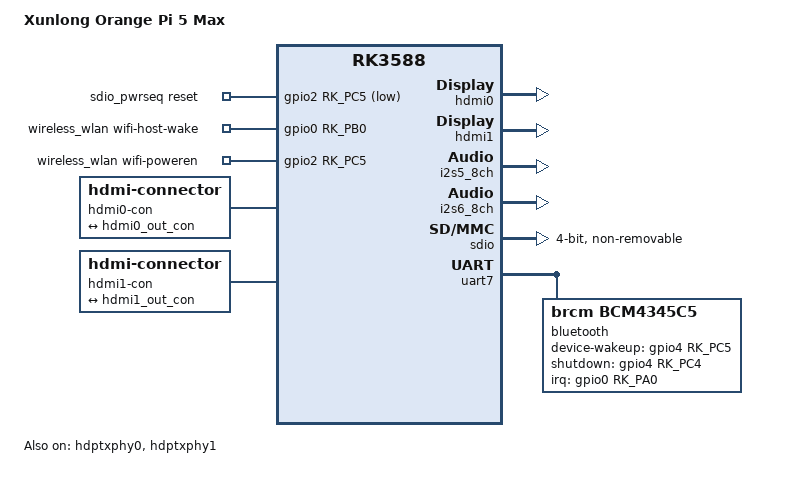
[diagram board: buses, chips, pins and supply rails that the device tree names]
// SPDX-License-Identifier: (GPL-2.0+ OR MIT)

/dts-v1/;

#include <dt-bindings/gpio/gpio.h>
#include <dt-bindings/pinctrl/rockchip.h>
#include <dt-bindings/soc/rockchip,vop2.h>
#include "rk3588-orangepi-5-compact.dtsi"

/ {
	model = "Xunlong Orange Pi 5 Max";
	compatible = "xunlong,orangepi-5-max", "rockchip,rk3588";

	sdio_pwrseq: sdio-pwrseq {
		compatible = "mmc-pwrseq-simple";
		clocks = <&hym8563>;
		clock-names = "ext_clock";
		pinctrl-names = "default";
		pinctrl-0 = <&wifi_enable_h>;
		post-power-on-delay-ms = <200>;
		reset-gpios = <&gpio2 RK_PC5 GPIO_ACTIVE_LOW>;
	};

	/*
	 * wireless-bluetooth (bluetooth-platdata): used only by rfkill_bt.
	 * rfkill_bt finds this node by compatible and creates a platform device from it
	 * (it does not respect status="disabled"), then uses bt-reset-gpio, bt-wake-gpio,
	 * bt-wake-host-gpio for rfkill block/unblock and bluesleep.
	 * No uart-rts-gpio / rts_gpio here: RTS is owned by &uart7 (uart7m0_rtsn on GPIO4 PC2).
	 *
	 * Actual BT transport and power sequencing are under &uart7 { bluetooth { } }
	 * (brcm,bcm4345c5), which hci_uart_bcm uses (device-wakeup-gpios, shutdown-gpios).
	 * Same pins, different property names for the two drivers.
	 */
	wireless_bluetooth: wireless-bluetooth {
		compatible = "bluetooth-platdata";
		bt-reset-gpio = <&gpio4 RK_PC4 GPIO_ACTIVE_HIGH>;
		bt-wake-gpio = <&gpio4 RK_PC5 GPIO_ACTIVE_HIGH>;
		bt-wake-host-gpio = <&gpio0 RK_PA0 GPIO_ACTIVE_HIGH>;
		pinctrl-names = "default";
		pinctrl-0 = <&bt_reset_gpio &bt_wake_gpio &bt_irq_gpio>;
		clocks = <&hym8563>;
		clock-names = "ext_clock";
		status = "disabled";
	};

	wireless_wlan: wireless-wlan {
		compatible = "wlan-platdata";
		wifi_chip_type = "ap6611";
		wifi-host-wake-gpio = <&gpio0 RK_PB0 GPIO_ACTIVE_HIGH>;
		wifi-poweren-gpio = <&gpio2 RK_PC5 GPIO_ACTIVE_HIGH>;
		pinctrl-names = "default";
		pinctrl-0 = <&wifi_host_wake_irq>;
		status = "okay";
	};

	hdmi0-con {
		compatible = "hdmi-connector";
		type = "a";

		port {
			hdmi0_con_in: endpoint {
				remote-endpoint = <&hdmi0_out_con>;
			};
		};
	};

	hdmi0-sound {
		status = "okay";
		compatible = "rockchip,hdmi";
		rockchip,mclk-fs = <0x80>;
		rockchip,card-name = "rockchip-hdmi0";
		rockchip,cpu = <&i2s5_8ch>;
		rockchip,codec = <&hdmi0>;
		rockchip,jack-det;
	};

	hdmi1-con {
		compatible = "hdmi-connector";
		type = "a";

		port {
			hdmi1_con_in: endpoint {
				remote-endpoint = <&hdmi1_out_con>;
			};
		};
	};

	hdmi1-sound {
		status = "okay";
		compatible = "rockchip,hdmi";
		rockchip,mclk-fs = <0x80>;
		rockchip,card-name = "rockchip-hdmi1";
		rockchip,cpu = <&i2s6_8ch>;
		rockchip,codec = <&hdmi1>;
		rockchip,jack-det;
	};
};

&hdmi0 {
	status = "okay";
};

&hdmi0_in {
	hdmi0_in_vp0: endpoint {
		remote-endpoint = <&vp0_out_hdmi0>;
	};
};

&hdmi0_out {
	hdmi0_out_con: endpoint {
		remote-endpoint = <&hdmi0_con_in>;
	};
};

&hdmi1 {
	pinctrl-names = "default";
	pinctrl-0 = <&hdmim0_tx1_cec &hdmim0_tx1_hpd
			     &hdmim1_tx1_scl &hdmim1_tx1_sda>;
	status = "okay";
};

&hdmi1_in {
	hdmi1_in_vp1: endpoint {
		remote-endpoint = <&vp1_out_hdmi1>;
	};
};

&hdmi1_out {
	hdmi1_out_con: endpoint {
		remote-endpoint = <&hdmi1_con_in>;
	};
};

&hdptxphy0 {
	status = "okay";
};

&hdptxphy1 {
	status = "okay";
};

&i2s5_8ch {
	status = "okay";
};

&i2s6_8ch {
	status = "okay";
};

&led_blue_pwm {
	pwms = <&pwm4 0 25000 0>;
};

&led_green_pwm {
	pwms = <&pwm5 0 25000 0>;
};

&pinctrl {


	sdio-pwrseq {
		wifi_enable_h: wifi-enable-h {
			rockchip,pins = <2 RK_PC5 RK_FUNC_GPIO &pcfg_pull_none>;
		};
	};
	usb {
		usb_otg_pwren: usb-otg-pwren {
			rockchip,pins = <4 RK_PB3 RK_FUNC_GPIO &pcfg_pull_none>;
		};
	};

	/* RTS (PC2) is owned by &uart7 via uart7m0_rtsn; do not define uart7_gpios here or wireless-bluetooth's default pinctrl would claim PC2 and conflict. */
	wireless-bluetooth {
		bt_reset_gpio: bt-reset-gpio {
			rockchip,pins = <4 RK_PC4 RK_FUNC_GPIO &pcfg_pull_none>;
		};

		bt_wake_gpio: bt-wake-gpio {
			rockchip,pins = <4 RK_PC5 RK_FUNC_GPIO &pcfg_pull_none>;
		};

		bt_irq_gpio: bt-irq-gpio {
			rockchip,pins = <0 RK_PA0 RK_FUNC_GPIO &pcfg_pull_down>;
		};
	};

	wireless-wlan {
		wifi_host_wake_irq: wifi-host-wake-irq {
			rockchip,pins = <0 RK_PB0 RK_FUNC_GPIO &pcfg_pull_down>;
		};
	};
};

&vp0 {
	vp0_out_hdmi0: endpoint@ROCKCHIP_VOP2_EP_HDMI0 {
		reg = <ROCKCHIP_VOP2_EP_HDMI0>;
		remote-endpoint = <&hdmi0_in_vp0>;
	};
};

&vp1 {
	vp1_out_hdmi1: endpoint@ROCKCHIP_VOP2_EP_HDMI1 {
		reg = <ROCKCHIP_VOP2_EP_HDMI1>;
		remote-endpoint = <&hdmi1_in_vp1>;
	};
};

&sdio {
	status = "okay";
	pinctrl-names = "default";
	pinctrl-0 = <&sdiom0_pins>;
	no-sd;
	no-mmc;
	bus-width = <4>;
	disable-wp;
	cap-sd-highspeed;
	cap-sdio-irq;
	keep-power-in-suspend;
	non-removable;
	max-frequency = <150000000>;
	sd-uhs-sdr104;
	mmc-pwrseq = <&sdio_pwrseq>;
};

/* AP6611 Bluetooth over UART7 (hci_bcm/btbcm); WiFi remains on SDIO above.
 * UART pins (from rk3588-extra-pinctrl.dtsi):
 *   TX  = uart7m0_xfer  → GPIO2 PB5 (host out)
 *   RX  = uart7m0_xfer  → GPIO2 PB4 (host in)
 *   RTS = uart7m0_rtsn  → GPIO4 PC2 (host out)
 *   CTS = uart7m0_ctsn  → GPIO4 PC6 (host in, schematic GPIO4_C6)
 */
&uart7 {
	status = "okay";
	pinctrl-names = "default";
	pinctrl-0 = <&uart7m0_xfer &uart7m0_rtsn &uart7m0_ctsn>;

	/* Reference DTBs (dtb-5.10 / dtb-6.1) have no serdev BT node and no BT baud; only fiq-debugger has rockchip,baudrate (1.5M). 3M is standard BCM UART operational rate. */
	bluetooth {
		compatible = "brcm,bcm4345c5";
		clocks = <&hym8563>;
		clock-names = "txco";
		max-speed = <3000000>;
		interrupt-parent = <&gpio0>;
		interrupts = <RK_PA0 IRQ_TYPE_LEVEL_HIGH>;
		interrupt-names = "host-wakeup";
		device-wakeup-gpios = <&gpio4 RK_PC5 GPIO_ACTIVE_HIGH>; /* BT_WAKE (host→device: keep awake) */
		shutdown-gpios = <&gpio4 RK_PC4 GPIO_ACTIVE_HIGH>;     /* BT_RST_N (power on + release reset when high) */
		pinctrl-names = "default";
		pinctrl-0 = <&bt_reset_gpio &bt_wake_gpio &bt_irq_gpio>;
		/* interrupts = BT_HOST_WAKE (device→host: wake host) on PA0 */
		status = "okay";
	};
};
